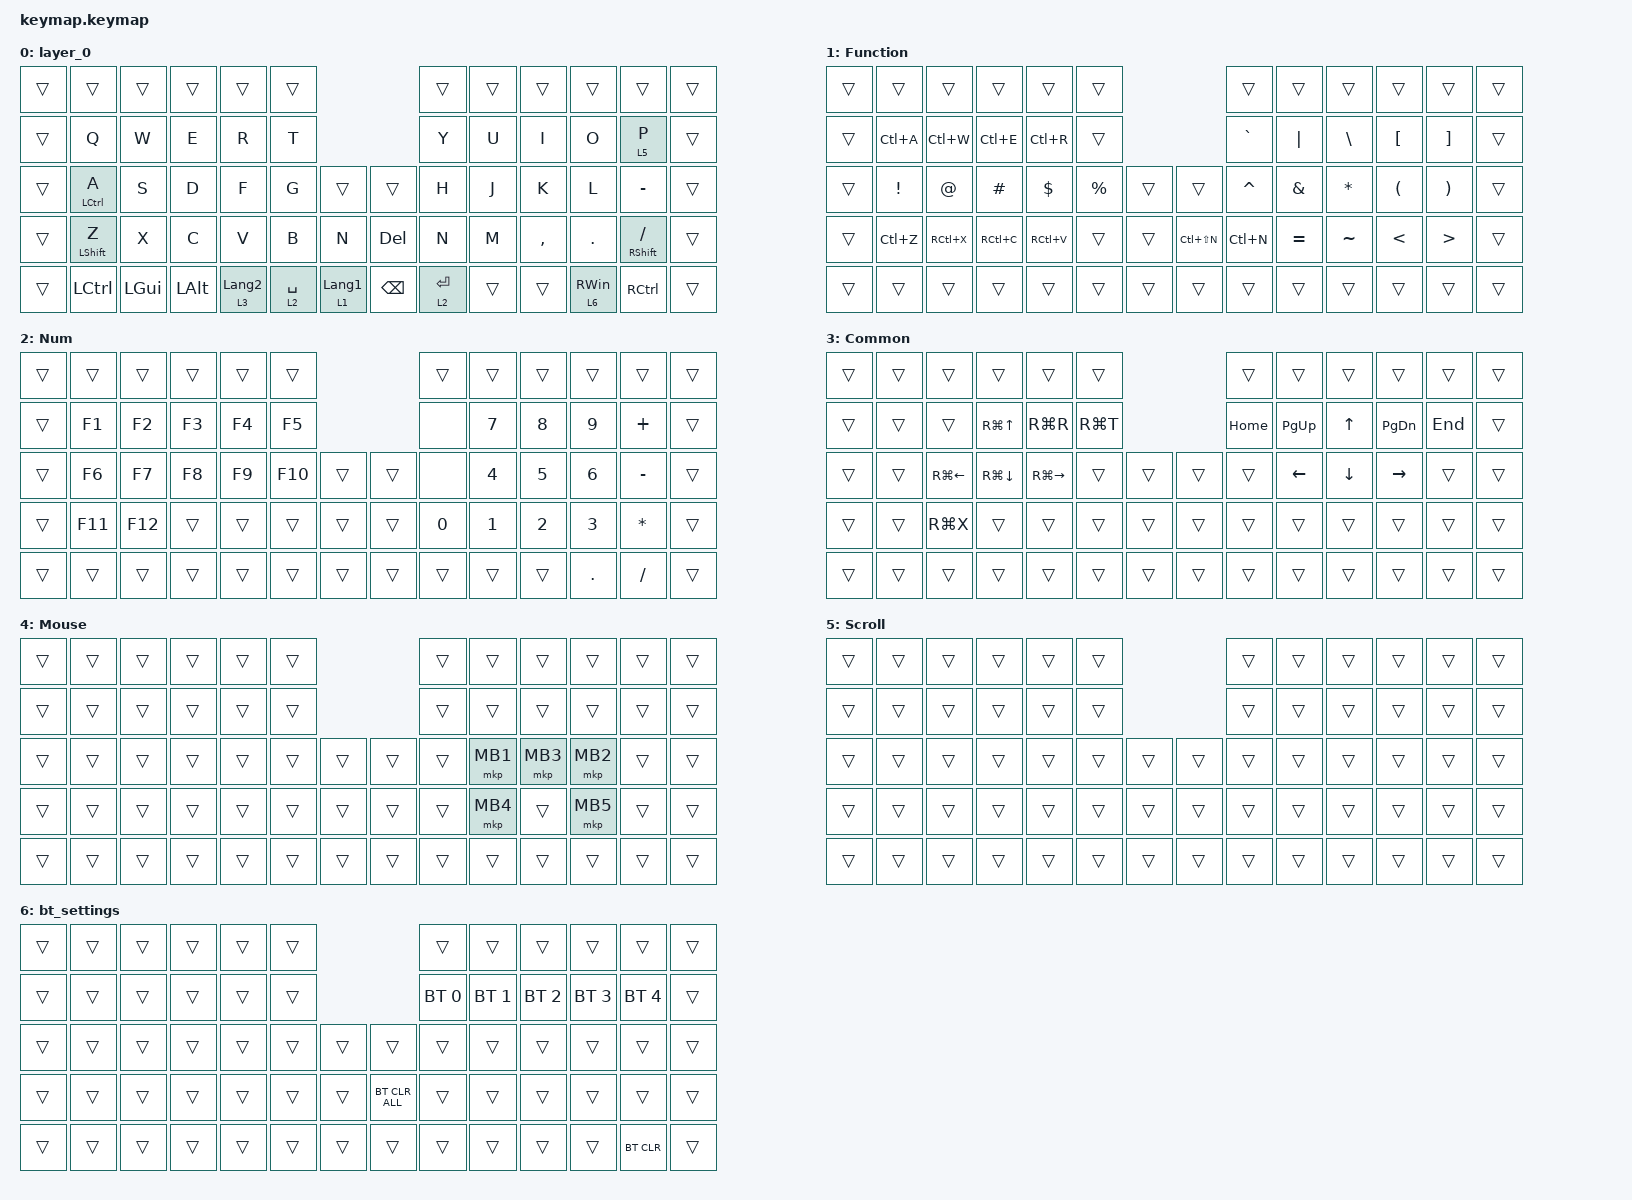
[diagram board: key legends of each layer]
#include <behaviors.dtsi>
#include <dt-bindings/zmk/bt.h>
#include <dt-bindings/zmk/keys.h>
#include <dt-bindings/zmk/pointing.h>

&mt {
    flavor = "balanced";
    require-prior-idle-ms = <150>;
};

/ {
    combos {
        compatible = "zmk,combos";

        esc {
            bindings = <&kp ESC>;
            key-positions = <14 15>;
            layers = <0>;
        };

        tab {
            bindings = <&kp TAB>;
            key-positions = <26 27>;
            layers = <0>;
        };

        DQuot {
            bindings = <&kp DQT>;
            key-positions = <>;
            layers = <0>;
        };

        colon {
            bindings = <&kp COLON>;
            key-positions = <>;
            layers = <0>;
        };

        semi {
            bindings = <&kp SEMI>;
            key-positions = <34 33>;
            layers = <0>;
        };

        SQuote {
            bindings = <&kp SQT>;
            key-positions = <34 35>;
            layers = <0>;
        };

        Equal {
            bindings = <&kp KP_EQUAL>;
            key-positions = <22 21>;
            layers = <0>;
        };
    };

    keymap {
        compatible = "zmk,keymap";

        layer_0 {
            bindings = <
&trans  &trans        &trans    &trans    &trans            &trans                                        &trans       &trans  &trans     &trans           &trans           &trans
&trans  &kp Q         &kp W     &kp E     &kp R             &kp T                                         &kp Y        &kp U   &kp I      &kp O            &lt 5 P          &trans
&trans  &mt LCTRL A   &kp S     &kp D     &kp F             &kp G        &trans            &trans         &kp H        &kp J   &kp K      &kp L            &kp MINUS        &trans
&trans  &mt LSHIFT Z  &kp X     &kp C     &kp V             &kp B        &kp N             &kp DELETE     &kp N        &kp M   &kp COMMA  &kp DOT          &mt RSHIFT FSLH  &trans
&trans  &kp LCTRL     &kp LGUI  &kp LALT  &lt 3 LANGUAGE_2  &lt 2 SPACE  &lt 1 LANGUAGE_1  &kp BACKSPACE  &lt 2 ENTER  &trans  &trans     &lt 6 RIGHT_WIN  &kp RCTRL        &trans
            >;
        };

        Function {
            bindings = <
&trans  &trans           &trans     &trans     &trans      &trans                              &trans     &trans     &trans         &trans    &trans    &trans
&trans  &kp LC(A)        &kp LC(W)  &kp LC(E)  &kp LC(R)   &trans                              &kp GRAVE  &kp PIPE   &kp BACKSLASH  &kp LBKT  &kp RBKT  &trans
&trans  &kp EXCLAMATION  &kp AT     &kp HASH   &kp DOLLAR  &kp PERCENT  &trans  &trans         &kp CARET  &kp AMPS   &kp ASTRK      &kp LPAR  &kp RPAR  &trans
&trans  &kp LC(Z)        &kp RC(X)  &kp RC(C)  &kp RC(V)   &trans       &trans  &kp LC(LS(N))  &kp LC(N)  &kp EQUAL  &kp TILDE      &kp LT    &kp GT    &trans
&trans  &trans           &trans     &trans     &trans      &trans       &trans  &trans         &trans     &trans     &trans         &trans    &trans    &trans
            >;
        };

        Num {
            bindings = <
&trans  &trans   &trans   &trans  &trans  &trans                   &trans  &trans  &trans  &trans        &trans     &trans
&trans  &kp F1   &kp F2   &kp F3  &kp F4  &kp F5                   &none   &kp N7  &kp N8  &kp N9        &kp PLUS   &trans
&trans  &kp F6   &kp F7   &kp F8  &kp F9  &kp F10  &trans  &trans  &none   &kp N4  &kp N5  &kp N6        &kp MINUS  &trans
&trans  &kp F11  &kp F12  &trans  &trans  &trans   &trans  &trans  &kp N0  &kp N1  &kp N2  &kp NUMBER_3  &kp ASTRK  &trans
&trans  &trans   &trans   &trans  &trans  &trans   &trans  &trans  &trans  &trans  &trans  &kp DOT       &kp SLASH  &trans
            >;
        };

        Common {
            bindings = <
&trans  &trans  &trans              &trans              &trans               &trans                     &trans    &trans          &trans          &trans           &trans   &trans
&trans  &trans  &trans              &kp RG(UP_ARROW)    &kp RG(R)            &kp RG(T)                  &kp HOME  &kp PAGE_UP     &kp UP_ARROW    &kp PG_DN        &kp END  &trans
&trans  &trans  &kp RG(LEFT_ARROW)  &kp RG(DOWN_ARROW)  &kp RG(RIGHT_ARROW)  &trans     &trans  &trans  &trans    &kp LEFT_ARROW  &kp DOWN_ARROW  &kp RIGHT_ARROW  &trans   &trans
&trans  &trans  &kp RG(X)           &trans              &trans               &trans     &trans  &trans  &trans    &trans          &trans          &trans           &trans   &trans
&trans  &trans  &trans              &trans              &trans               &trans     &trans  &trans  &trans    &trans          &trans          &trans           &trans   &trans
            >;
        };

        Mouse {
            bindings = <
&trans  &trans  &trans  &trans  &trans  &trans                  &trans  &trans    &trans    &trans    &trans  &trans
&trans  &trans  &trans  &trans  &trans  &trans                  &trans  &trans    &trans    &trans    &trans  &trans
&trans  &trans  &trans  &trans  &trans  &trans  &trans  &trans  &trans  &mkp MB1  &mkp MB3  &mkp MB2  &trans  &trans
&trans  &trans  &trans  &trans  &trans  &trans  &trans  &trans  &trans  &mkp MB4  &trans    &mkp MB5  &trans  &trans
&trans  &trans  &trans  &trans  &trans  &trans  &trans  &trans  &trans  &trans    &trans    &trans    &trans  &trans
            >;
        };

        Scroll {
            bindings = <
&trans  &trans  &trans  &trans  &trans  &trans                  &trans  &trans  &trans  &trans  &trans  &trans
&trans  &trans  &trans  &trans  &trans  &trans                  &trans  &trans  &trans  &trans  &trans  &trans
&trans  &trans  &trans  &trans  &trans  &trans  &trans  &trans  &trans  &trans  &trans  &trans  &trans  &trans
&trans  &trans  &trans  &trans  &trans  &trans  &trans  &trans  &trans  &trans  &trans  &trans  &trans  &trans
&trans  &trans  &trans  &trans  &trans  &trans  &trans  &trans  &trans  &trans  &trans  &trans  &trans  &trans
            >;
        };

        bt_settings {
            bindings = <
&trans  &trans  &trans  &trans  &trans  &trans                          &trans        &trans        &trans        &trans        &trans        &trans
&trans  &trans  &trans  &trans  &trans  &trans                          &bt BT_SEL 0  &bt BT_SEL 1  &bt BT_SEL 2  &bt BT_SEL 3  &bt BT_SEL 4  &trans
&trans  &trans  &trans  &trans  &trans  &trans  &trans  &trans          &trans        &trans        &trans        &trans        &trans        &trans
&trans  &trans  &trans  &trans  &trans  &trans  &trans  &bt BT_CLR_ALL  &trans        &trans        &trans        &trans        &trans        &trans
&trans  &trans  &trans  &trans  &trans  &trans  &trans  &trans          &trans        &trans        &trans        &trans        &bt BT_CLR    &trans
            >;
        };
    };
};
